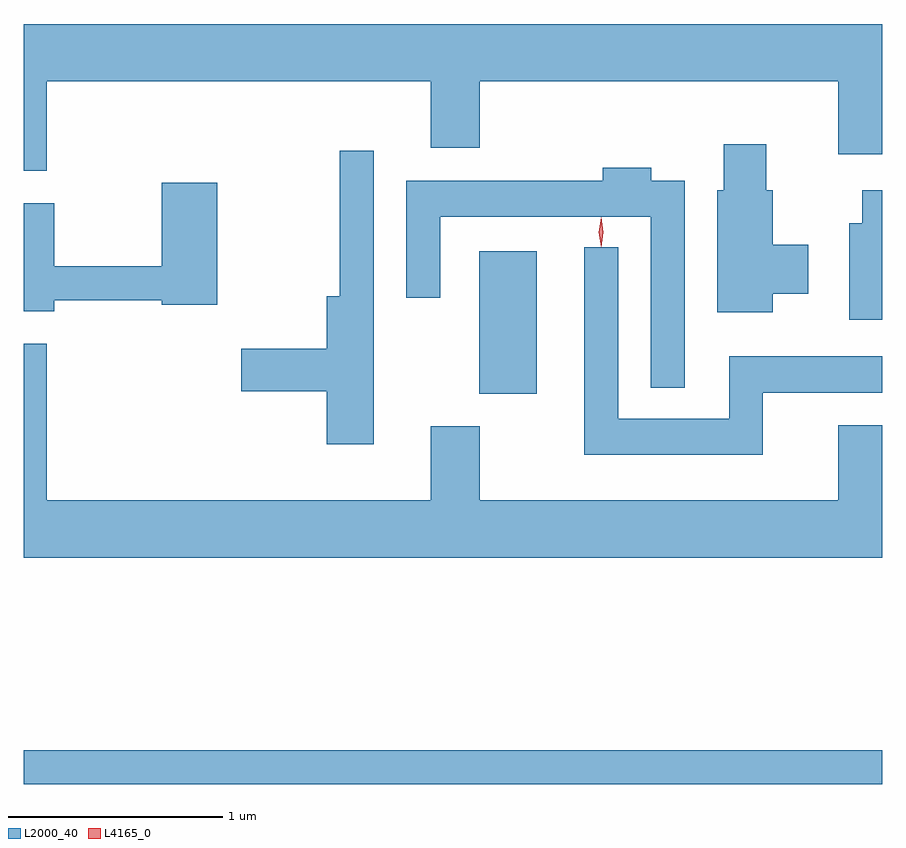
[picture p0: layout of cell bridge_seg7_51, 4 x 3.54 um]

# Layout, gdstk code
import gdstk
lib = gdstk.Library(unit=1e-6, precision=1e-09)
def R(c, l, rs):  # rectangles x0, y0, x1, y1
    for r in rs: c.add(gdstk.rectangle(r[:2], r[2:], *l))
def P(c, l, *ps):  # polygons
    for p in ps: c.add(gdstk.Polygon(p, *l))
L2000_40 = (2000, 40)
L4165_0 = (4165, 0)

bridge_seg7_51 = lib.new_cell('bridge_seg7_51')
R(bridge_seg7_51, L2000_40, [(1566.234,1779.861,1570.234,1780.019), (1568.356,1781.681,1568.624,1782.344)])
P(bridge_seg7_51, L2000_40, [(1566.339,1783.136),(1568.131,1783.136),(1568.131,1782.826),(1568.359,1782.826),(1568.359,1783.136),(1570.031,1783.136),(1570.031,1782.796),(1570.234,1782.796),(1570.234,1783.404),(1566.234,1783.404),(1566.234,1782.721),(1566.339,1782.721)],
  [(1569.724,1782.146),(1569.889,1782.146),(1569.889,1782.374),(1569.724,1782.374),(1569.724,1782.629),(1569.694,1782.629),(1569.694,1782.844),(1569.496,1782.844),(1569.496,1782.629),(1569.466,1782.629),(1569.466,1782.061),(1569.724,1782.061)],
  [(1567.864,1782.813),(1567.706,1782.813),(1567.706,1782.134),(1567.646,1782.134),(1567.646,1781.889),(1567.246,1781.889),(1567.246,1781.691),(1567.646,1781.691),(1567.646,1781.446),(1567.864,1781.446)],
  [(1569.314,1782.674),(1569.159,1782.674),(1569.159,1782.734),(1568.931,1782.734),(1568.931,1782.674),(1568.016,1782.674),(1568.016,1782.128),(1568.174,1782.128),(1568.174,1782.506),(1569.156,1782.506),(1569.156,1781.708),(1569.314,1781.708)],
  [(1566.374,1782.116),(1566.876,1782.116),(1566.876,1782.096),(1567.134,1782.096),(1567.134,1782.664),(1566.876,1782.664),(1566.876,1782.274),(1566.374,1782.274),(1566.374,1782.569),(1566.234,1782.569),(1566.234,1782.066),(1566.374,1782.066)],
  [(1570.234,1782.629),(1570.141,1782.629),(1570.141,1782.474),(1570.081,1782.474),(1570.081,1782.026),(1570.234,1782.026)],
  [(1569.679,1781.686),(1570.234,1781.686),(1570.234,1781.854),(1569.521,1781.854),(1569.521,1781.564),(1569.004,1781.564),(1569.004,1782.363),(1568.846,1782.363),(1568.846,1781.396),(1569.679,1781.396)],
  [(1570.234,1781.534),(1570.031,1781.534),(1570.031,1781.184),(1568.359,1781.184),(1568.359,1781.529),(1568.131,1781.529),(1568.131,1781.184),(1566.339,1781.184),(1566.339,1781.914),(1566.234,1781.914),(1566.234,1780.916),(1570.234,1780.916)])
P(bridge_seg7_51, L4165_0, [(1568.924,1782.364),(1568.924,1782.364),(1568.914,1782.434),(1568.924,1782.502),(1568.924,1782.503),(1568.925,1782.502),(1568.934,1782.434),(1568.925,1782.364)],
  [(1568.924,1782.367),(1568.924,1782.367),(1568.914,1782.434),(1568.924,1782.5),(1568.924,1782.5),(1568.925,1782.5),(1568.934,1782.434),(1568.925,1782.367)])

lib.write_gds('bridge_seg7_51.gds')
